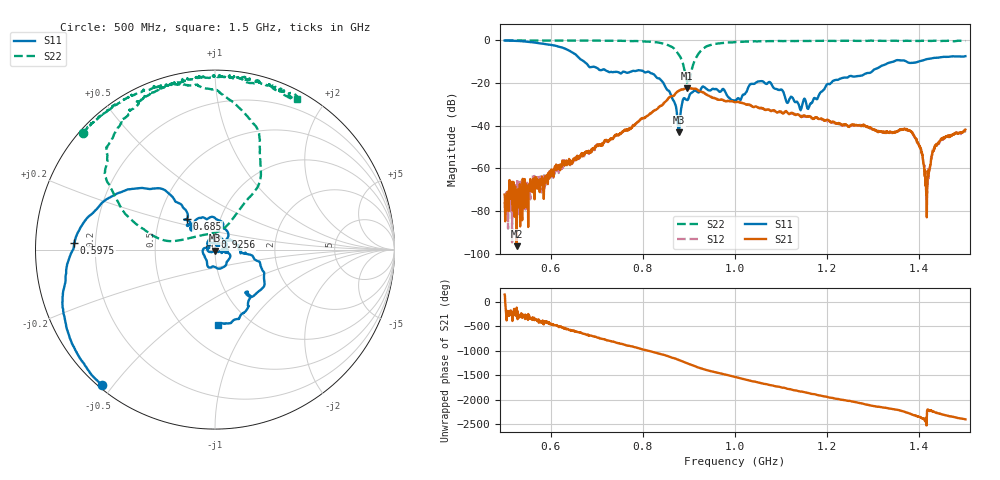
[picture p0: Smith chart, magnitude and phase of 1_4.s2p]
!Agilent Technologies,E8364B,US42250235,A.06.04.32
!Agilent E8364B: A.06.04.32
!Date: Friday, January 15, 2021 15:15:06
!Correction: S11(Full 2 Port(1,2)) S21(Full 2 Port(1,2)) S12(Full 2 Port(1,2)) S22(Full 2 Port(1,2))
!S2P File: Measurements: S11, S21, S12, S22:
# Hz S  dB  R 50
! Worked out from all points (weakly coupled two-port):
!   1601 points, 500 MHz to 1.5 GHz, reference 50 ohm
!   highest |S21| = -22.48 dB at 895.6 MHz (marker M1); lowest = -96.6 dB at 526.2 MHz (marker M2)
!   lowest |S11| = -43.2 dB at 878.1 MHz (marker M3), VSWR 1.01, Z = 49.8 - j0.667 ohm
!   |S11| at or under -10 dB: 672.1 MHz to 1.344 GHz (672.2 MHz wide, 66.7 % of centre); 1.372 GHz to 1.399 GHz (26.72 MHz wide, 1.93 % of centre)
!   |S22| runs from -20.7 to -0.1 dB; largest |S21 - S12| = 0.0018
!   S11 on the Smith chart (normalised r, x): 500 MHz: 0.01, -0.47; 597.5 MHz: 0.12, +0.02; 685 MHz: 0.69, +0.25; 925.6 MHz: 0.99, +0.14; 1.5 GHz: 0.72, -0.74
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5e8  -0.14 -129.9  -72.38 150.6  -75.82 171.5  -0.15 138.5
5.2625e8  -0.33 -142.4  -96.56 -117.3  -70.71 123.7  -0.15 135.6
5.3375e8  -0.41 -146.4  -87.30 85.7  -75.81 10.5  -0.17 135.1
5.975e8  -2.10 177.4  -64.22 -94.9  -61.38 -77.7  -0.17 129.9
6.66875e8  -9.23 129.5  -53.08 84.8  -53.37 82.5  -0.19 121.7
6.85e8  -12.67 131.9  -52.18 30.0  -52.80 35.8  -0.21 119.9
8.3375e8  -17.90 67.8  -31.68 26.9  -31.57 26.0  -1.09 88.6
8.6125e8  -25.92 10.6  -26.30 -54.4  -26.43 -54.5  -2.95 70.6
8.78125e8  -43.24 -103.6  -23.70 -108.4  -23.60 -108.4  -6.77 56.7
8.95625e8  -28.03 136.3  -22.48 -173.9  -22.45 -174.5  -19.18 74.4
9.25625e8  -23.10 91.3  -24.09 83.4  -24.04 82.6  -5.05 157.0
1e9  -28.49 -10.4  -29.02 -94.4  -28.92 -95.1  -0.88 121.4
1.055625e9  -19.21 -71.5  -31.79 141.6  -31.92 139.9  -0.46 112.3
1.14125e9  -32.29 70.3  -35.61 -33.1  -35.38 -32.9  -0.30 100.7
1.166875e9  -29.37 44.2  -36.53 -83.6  -36.64 -81.0  -0.37 97.4
1.215e9  -18.83 20.5  -38.40 -173.1  -38.82 -172.8  -0.35 93.4
1.33375e9  -10.60 -24.2  -43.24 -20.9  -43.56 -17.5  -0.32 79.1
1.385e9  -10.63 -52.7  -43.49 -147.3  -43.28 -145.3  -0.30 75.5
1.4025e9  -9.76 -52.8  -50.43 152.9  -50.56 156.7  -0.32 72.0
1.41625e9  -8.84 -59.6  -83.02 136.9  -69.58 -44.4  -0.31 71.9
1.4375e9  -8.24 -66.2  -49.55 -111.8  -48.98 -112.9  -0.30 70.8
1.5e9  -7.51 -87.7  -41.94 116.8  -42.51 116.1  -0.39 61.6
